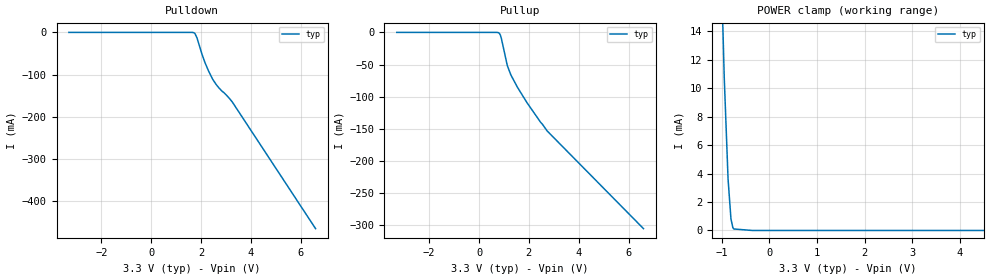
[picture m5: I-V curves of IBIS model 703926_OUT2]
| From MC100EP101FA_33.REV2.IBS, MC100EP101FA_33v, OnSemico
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| (C) COPYRIGHT 1993-2001
| MENTOR GRAPHICS CORPORATION
| ICX STANDARD LIBRARY, ICX PROJECT MODELING,
| ICX CUSTOM MODELING, ICX VENDOR MODEL
| ALL RIGHTS RESERVED.
| THE FOLLOWING ARE TRADEMARKS OR SERVICE MARKS OF
| MENTOR GRAPHICS CORPORATION:ICX (R), ICX STANDARD
| LIBRARY(R), ICX PROJECT MODELING(R), ICX CUSTOM
| MODELING(R), qualityIBIS(TM), MODELVIEWER(TM),
| AND MODELEDITOR(TM)
| ALL COPIES OF SOFTWARE, INCLUDING BUT NOT LIMITED TO
| ANY MODIFICATIONS, ENHANCEMENTS OR DERIVATIVE WORKS,
| MUST CONTAIN ALL MENTOR GRAPHICS CORPORATION'S
| NOTICES AND LEGENDS, INCLUDING THOSE EMBEDDED IN
| SOFTWARE AND THOSE AFFIXED TO SOFTWARE MEDIUM
| AND CONTAINER, AS RECEIVED FROM MENTOR GRAPHICS
| CORPORATION.
| Model Application Version 1.89 2/18/99.
[Model] 703926_OUT2
Model_type Output_ECL
Vref=1.300V
Rref=50.00ohms
Cref=0.000F
Vmeas=1.880V
C_comp 6.000pF NA NA
| variable typ   min   max
[Voltage Range] 3.300V NA NA
[POWER Clamp Reference] 3.300V NA NA
[Pullup Reference] 3.300V NA NA
[Pulldown Reference] 3.300V NA NA
[GND Clamp Reference] 0.000V NA NA
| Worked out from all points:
|   POWER clamp passes 1 mA (typ) near -0.81 V on its own axis
[GND Clamp]
-3.3V     0A         NA         NA
6.6V      0A         NA         NA
[Pulldown]
-3.3V     0A         NA         NA
1.638V    0A         NA         NA
1.76V     -2.7mA     NA         NA
1.841V    -12.9mA    NA         NA
2.043V    -51.9mA    NA         NA
2.165V    -72mA      NA         NA
2.307V    -91.6mA    NA         NA
2.469V    -110.8mA   NA         NA
2.732V    -132.1mA   NA         NA
3.017V    -148.3mA   NA         NA
3.26V     -165mA     NA         NA
6.6V      -464.8mA   NA         NA
[Pullup]
-3.3V     0A         NA         NA
711mV     0A         NA         NA
812mV     -1.2mA     NA         NA
853mV     -3.8mA     NA         NA
893mV     -8.8mA     NA         NA
1.136V    -51.7mA    NA         NA
1.278V    -66.2mA    NA         NA
1.542V    -85.4mA    NA         NA
1.927V    -109.5mA   NA         NA
2.474V    -140mA     NA         NA
2.738V    -153.5mA   NA         NA
6.6V      -305.4mA   NA         NA
[POWER Clamp]
-3.3V     462.4mA    NA         NA
-1.398V   81.4mA     NA         NA
-1.235V   51.8mA     NA         NA
-1.053V   23.4mA     NA         NA
-951mV    10.8mA     NA         NA
-870mV    3.6mA      NA         NA
-809mV    800uA      NA         NA
-769mV    200uA      NA         NA
-748.5mV  100uA      NA         NA
-728mV    100uA      NA         NA
-364mV    0A         NA         NA
6.6V      0A         NA         NA
[Ramp]
| variable typ min max
dV/dt_r 409.9m/211.7p NA NA
dV/dt_f 409.9m/182.2p NA NA
R_load = 50.00Ohms
